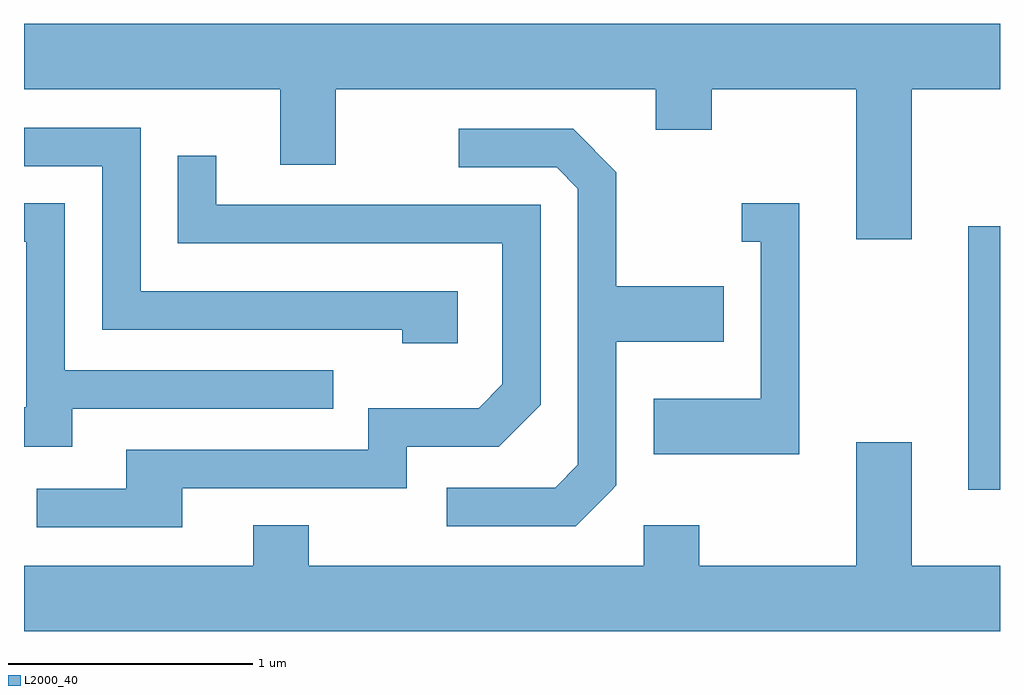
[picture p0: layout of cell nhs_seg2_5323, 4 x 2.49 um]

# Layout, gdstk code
import gdstk
lib = gdstk.Library(unit=1e-6, precision=1e-09)
def R(c, l, rs):  # rectangles x0, y0, x1, y1
    for r in rs: c.add(gdstk.rectangle(r[:2], r[2:], *l))
def P(c, l, *ps):  # polygons
    for p in ps: c.add(gdstk.Polygon(p, *l))
L2000_40 = (2000, 40)

nhs_seg2_5323 = lib.new_cell('nhs_seg2_5323')
R(nhs_seg2_5323, L2000_40, [(345.481,1077.756,345.611,1078.834)])
P(nhs_seg2_5323, L2000_40, [(341.611,1079.396),(342.661,1079.396),(342.661,1079.086),(342.889,1079.086),(342.889,1079.396),(344.201,1079.396),(344.201,1079.231),(344.429,1079.231),(344.429,1079.396),(345.021,1079.396),(345.021,1078.781),(345.249,1078.781),(345.249,1079.396),(345.611,1079.396),(345.611,1079.664),(341.611,1079.664)],
  [(343.389,1078.569),(342.089,1078.569),(342.089,1079.239),(341.611,1079.239),(341.611,1079.081),(341.931,1079.081),(341.931,1078.411),(343.161,1078.411),(343.161,1078.356),(343.389,1078.356)],
  [(344.013,1077.747),(344.039,1077.774),(344.039,1078.361),(344.479,1078.361),(344.479,1078.589),(344.039,1078.589),(344.039,1079.057),(343.862,1079.234),(343.393,1079.234),(343.393,1079.076),(343.794,1079.076),(343.881,1078.989),(343.881,1077.857),(343.789,1077.764),(343.343,1077.764),(343.343,1077.606),(343.872,1077.606)],
  [(342.259,1077.761),(343.179,1077.761),(343.179,1077.931),(343.557,1077.931),(343.729,1078.104),(343.729,1078.924),(342.399,1078.924),(342.399,1079.123),(342.241,1079.123),(342.241,1078.766),(343.571,1078.766),(343.571,1078.187),(343.474,1078.089),(343.021,1078.089),(343.021,1077.919),(342.031,1077.919),(342.031,1077.759),(341.663,1077.759),(341.663,1077.601),(342.259,1077.601)],
  [(344.789,1078.929),(344.553,1078.929),(344.553,1078.771),(344.631,1078.771),(344.631,1078.129),(344.191,1078.129),(344.191,1077.901),(344.789,1077.901)],
  [(341.809,1078.086),(342.878,1078.086),(342.878,1078.244),(341.779,1078.244),(341.779,1078.929),(341.611,1078.929),(341.611,1078.771),(341.621,1078.771),(341.621,1078.094),(341.611,1078.094),(341.611,1077.931),(341.809,1077.931)],
  [(345.611,1077.444),(345.249,1077.444),(345.249,1077.949),(345.021,1077.949),(345.021,1077.444),(344.379,1077.444),(344.379,1077.609),(344.151,1077.609),(344.151,1077.444),(342.779,1077.444),(342.779,1077.609),(342.551,1077.609),(342.551,1077.444),(341.611,1077.444),(341.611,1077.176),(345.611,1077.176)])

lib.write_gds('nhs_seg2_5323.gds')
